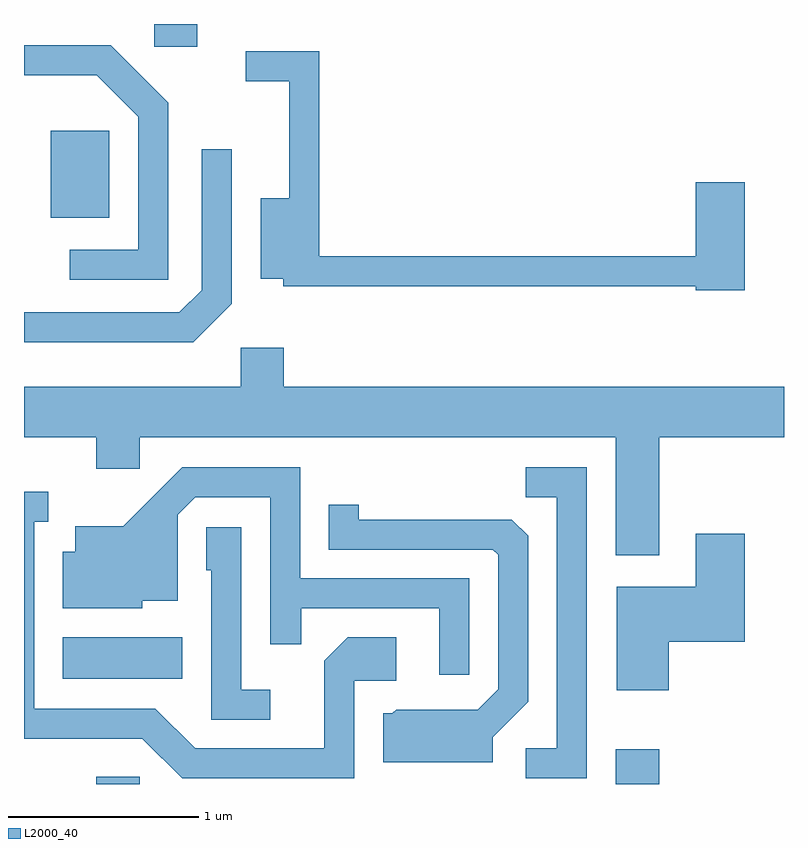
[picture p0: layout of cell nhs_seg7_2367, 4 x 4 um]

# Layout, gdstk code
import gdstk
lib = gdstk.Library(unit=1e-6, precision=1e-09)
def R(c, l, rs):  # rectangles x0, y0, x1, y1
    for r in rs: c.add(gdstk.rectangle(r[:2], r[2:], *l))
def P(c, l, *ps):  # polygons
    for p in ps: c.add(gdstk.Polygon(p, *l))
L2000_40 = (2000, 40)

nhs_seg7_2367 = lib.new_cell('nhs_seg7_2367')
R(nhs_seg7_2367, L2000_40, [(257.991,1730.252,258.219,1730.289), (260.726,1730.252,260.954,1730.434), (257.816,1730.806,258.444,1731.024), (257.751,1733.231,258.059,1733.689), (258.296,1734.131,258.524,1734.252)])
P(nhs_seg7_2367, L2000_40, [(258.369,1733.837),(258.067,1734.139),(257.611,1734.139),(257.611,1733.981),(257.993,1733.981),(258.211,1733.764),(258.211,1733.064),(257.853,1733.064),(257.853,1732.906),(258.369,1732.906)],
  [(261.404,1733.419),(261.146,1733.419),(261.146,1733.029),(259.164,1733.029),(259.164,1734.109),(258.778,1734.109),(258.778,1733.951),(259.006,1733.951),(259.006,1733.334),(258.856,1733.334),(258.856,1732.911),(258.976,1732.911),(258.976,1732.871),(261.146,1732.871),(261.146,1732.851),(261.404,1732.851)],
  [(258.704,1732.779),(258.704,1733.593),(258.546,1733.593),(258.546,1732.852),(258.429,1732.734),(257.611,1732.734),(257.611,1732.576),(258.502,1732.576)],
  [(260.954,1732.076),(261.611,1732.076),(261.611,1732.344),(258.979,1732.344),(258.979,1732.549),(258.751,1732.549),(258.751,1732.344),(257.611,1732.344),(257.611,1732.076),(257.991,1732.076),(257.991,1731.911),(258.219,1731.911),(258.219,1732.076),(260.726,1732.076),(260.726,1731.456),(260.954,1731.456)],
  [(259.954,1731.334),(259.064,1731.334),(259.064,1731.919),(258.444,1731.919),(258.134,1731.609),(257.881,1731.609),(257.881,1731.474),(257.816,1731.474),(257.816,1731.176),(258.234,1731.176),(258.234,1731.216),(258.419,1731.216),(258.419,1731.669),(258.512,1731.761),(258.906,1731.761),(258.906,1730.988),(259.069,1730.988),(259.069,1731.176),(259.796,1731.176),(259.796,1730.828),(259.954,1730.828)],
  [(260.574,1731.919),(260.253,1731.919),(260.253,1731.761),(260.416,1731.761),(260.416,1730.439),(260.253,1730.439),(260.253,1730.281),(260.574,1730.281)],
  [(259.349,1730.796),(259.569,1730.796),(259.569,1731.024),(259.314,1731.024),(259.191,1730.902),(259.191,1730.439),(258.512,1730.439),(258.302,1730.649),(257.664,1730.649),(257.664,1731.631),(257.738,1731.631),(257.738,1731.789),(257.611,1731.789),(257.611,1730.491),(258.234,1730.491),(258.444,1730.281),(259.349,1730.281)],
  [(260.079,1730.499),(260.264,1730.684),(260.264,1731.559),(260.179,1731.644),(259.374,1731.644),(259.374,1731.723),(259.216,1731.723),(259.216,1731.486),(260.079,1731.486),(260.106,1731.459),(260.106,1730.752),(259.998,1730.644),(259.569,1730.644),(259.549,1730.624),(259.501,1730.624),(259.501,1730.366),(260.079,1730.366)],
  [(258.908,1730.749),(258.754,1730.749),(258.754,1731.604),(258.571,1731.604),(258.571,1731.376),(258.596,1731.376),(258.596,1730.591),(258.908,1730.591)],
  [(261.004,1731.001),(261.404,1731.001),(261.404,1731.569),(261.146,1731.569),(261.146,1731.289),(260.731,1731.289),(260.731,1730.746),(261.004,1730.746)])

lib.write_gds('nhs_seg7_2367.gds')
